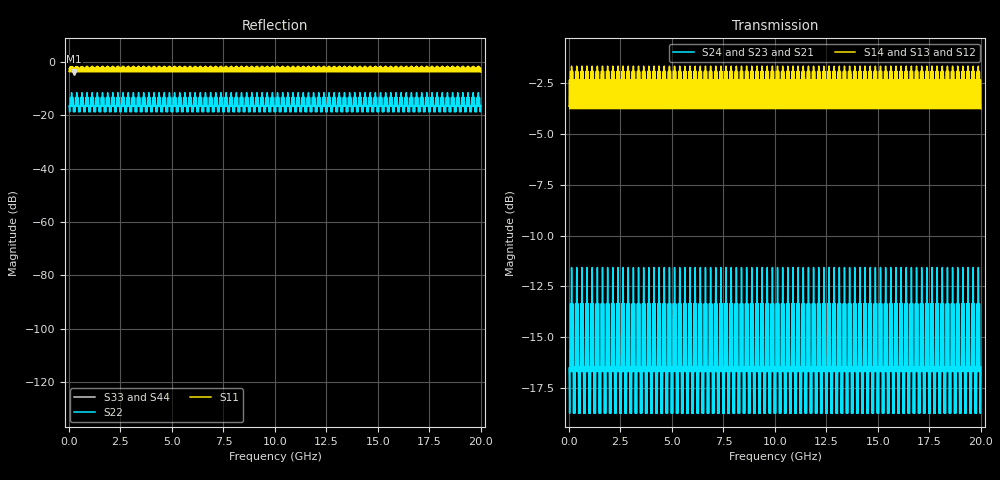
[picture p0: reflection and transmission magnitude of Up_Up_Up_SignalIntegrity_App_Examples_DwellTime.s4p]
! File created by SignalIntegrity v1.1.8: Signal and Power Integrity Tools
! https://github.com/TeledyneLeCroy/SignalIntegrity
# MHz MA S R 50.0
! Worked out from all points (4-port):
!   4000 points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, 5 MHz to 20 GHz, reference 50 ohm
!   strongest paths, dB at 5 MHz, 5.005 GHz, 10.01 GHz, 15.01 GHz, 20 GHz:
!     S14: -3.6, -3.6, -3.6, -3.6, -3.7
!     S13: -3.6, -3.6, -3.6, -3.6, -3.7
!     S12: -3.6, -3.6, -3.6, -3.6, -3.7
!     S24: -16.5, -16.5, -16.5, -16.5, -16.5
!     S23: -16.5, -16.5, -16.5, -16.5, -16.5
!     S21: -16.5, -16.5, -16.5, -16.5, -16.5
!   lowest |S11| = -3.7 dB at 250 MHz (marker M1), VSWR 4.71, Z = 236 + j0 ohm
!   |S11| at or under -10 dB: nowhere
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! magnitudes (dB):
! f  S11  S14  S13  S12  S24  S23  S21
! 5 MHz  -3.6  -3.6  -3.6  -3.6  -16.5  -16.5  -16.5
! 100 MHz  -3.7  -3.7  -3.7  -3.7  -16.2  -16.2  -16.2
! 250 MHz  -3.7  -3.7  -3.7  -3.7  -16.5  -16.5  -16.5
! 350 MHz  -3.7  -3.7  -3.7  -3.7  -16.2  -16.2  -16.2
! 500 MHz  -3.7  -3.7  -3.7  -3.7  -16.5  -16.5  -16.5
! 19.9 GHz  -3.7  -3.7  -3.7  -3.7  -16.2  -16.2  -16.2
! 20 GHz  -3.7  -3.7  -3.7  -3.7  -16.5  -16.5  -16.5
